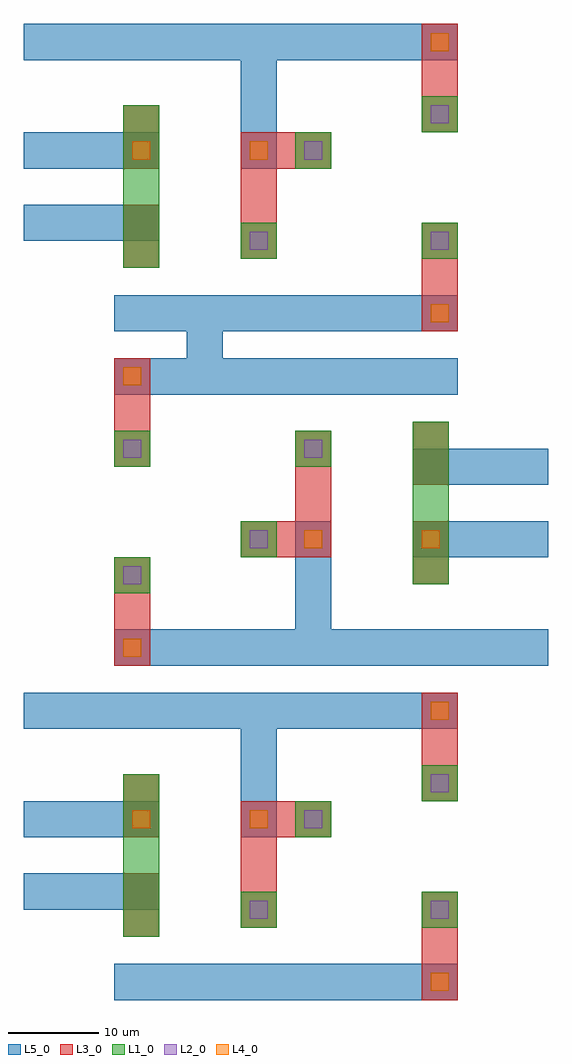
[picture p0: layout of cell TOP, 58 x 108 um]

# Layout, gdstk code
from math import pi, radians
import gdstk
lib = gdstk.Library(unit=1e-6, precision=1e-09)
def R(c, l, rs):  # rectangles x0, y0, x1, y1
    for r in rs: c.add(gdstk.rectangle(r[:2], r[2:], *l))
L1_0 = (1, 0)
L2_0 = (2, 0)
L3_0 = (3, 0)
L4_0 = (4, 0)
L5_0 = (5, 0)

c_a = lib.new_cell('A')
R(c_a, L1_0, [(0,8,4,12)])
R(c_a, L2_0, [(1,9,3,11)])
R(c_a, L3_0, [(0,0,4,12)])
R(c_a, L4_0, [(1,1,3,3)])
R(c_a, L5_0, [(0,0,38,4)])
c_a.add(gdstk.Label('NET2', (16,2), layer=5, texttype=0))

c_b = lib.new_cell('B')
R(c_b, L1_0, [(25,-5,29,13), (6,-2,10,2), (12,8,16,12)])
R(c_b, L2_0, [(7,-1,9,1), (13,9,15,11)])
R(c_b, L3_0, [(25,-5,29,2), (6,-2,16,2), (12,-2,16,12), (25,6,29,13)])
R(c_b, L4_0, [(13,-1,15,1), (26,-1,28,1)])
R(c_b, L5_0, [(12,-14,16,2), (30,-14,40,-10), (25,-2,40,2), (25,6,40,10)])
c_b.add(gdstk.Reference(c_a, (-8,20), x_reflection=True))
r = gdstk.Reference(c_a, (-8,-14)); r.repetition = gdstk.Repetition(1, 1, v1=(0,0), v2=(0,0)); c_b.add(r)
c_b.add(gdstk.Label('NET2', (16,18), layer=5, texttype=0))
c_b.add(gdstk.Label('NET1', (34,-12), layer=5, texttype=0))

top = lib.new_cell('TOP')
R(top, L5_0, [(0,16,4,27)])
r = gdstk.Reference(c_b, (0,0)); r.repetition = gdstk.Repetition(1, 1, v1=(0,0), v2=(0,0)); top.add(r)
r = gdstk.Reference(c_b, (22,43), rotation=pi); r.repetition = gdstk.Repetition(1, 1, v1=(0,0), v2=(0,0)); top.add(r)
r = gdstk.Reference(c_b, (22,-31), rotation=pi); r.repetition = gdstk.Repetition(1, 1, v1=(0,0), v2=(0,0)); top.add(r)

lib.write_gds('TOP.gds')
